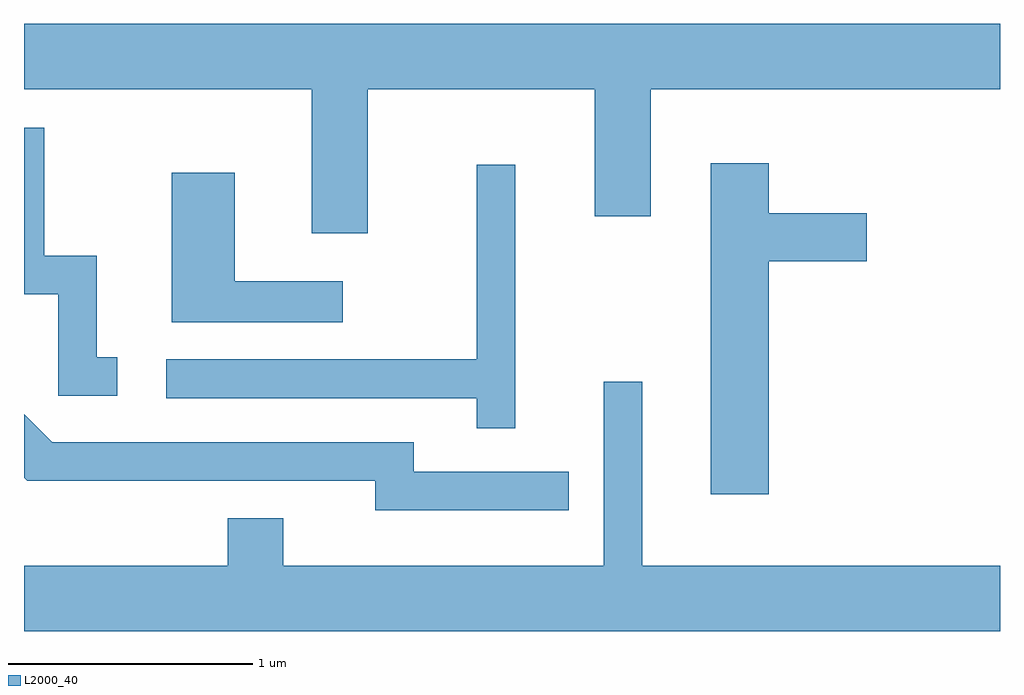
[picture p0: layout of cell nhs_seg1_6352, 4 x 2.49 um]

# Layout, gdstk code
import gdstk
lib = gdstk.Library(unit=1e-6, precision=1e-09)
def P(c, l, *ps):  # polygons
    for p in ps: c.add(gdstk.Polygon(p, *l))
L2000_40 = (2000, 40)

nhs_seg1_6352 = lib.new_cell('nhs_seg1_6352')
P(nhs_seg1_6352, L2000_40, [(377.019,975.056),(377.951,975.056),(377.951,974.536),(378.179,974.536),(378.179,975.056),(379.611,975.056),(379.611,975.324),(375.611,975.324),(375.611,975.056),(376.791,975.056),(376.791,974.466),(377.019,974.466)],
  [(375.993,973.959),(375.909,973.959),(375.909,974.374),(375.694,974.374),(375.694,974.899),(375.611,974.899),(375.611,974.216),(375.751,974.216),(375.751,973.801),(375.993,973.801)],
  [(378.664,974.351),(379.064,974.351),(379.064,974.549),(378.664,974.549),(378.664,974.754),(378.426,974.754),(378.426,973.396),(378.664,973.396)],
  [(377.624,974.748),(377.466,974.748),(377.466,973.949),(376.193,973.949),(376.193,973.791),(377.466,973.791),(377.466,973.668),(377.624,973.668)],
  [(376.918,974.269),(376.474,974.269),(376.474,974.714),(376.216,974.714),(376.216,974.101),(376.918,974.101)],
  [(379.611,973.104),(378.144,973.104),(378.144,973.858),(377.986,973.858),(377.986,973.104),(376.674,973.104),(376.674,973.299),(376.446,973.299),(376.446,973.104),(375.611,973.104),(375.611,972.836),(379.611,972.836)],
  [(377.843,973.489),(377.209,973.489),(377.209,973.609),(375.727,973.609),(375.611,973.725),(375.611,973.464),(375.624,973.451),(377.051,973.451),(377.051,973.331),(377.843,973.331)])

lib.write_gds('nhs_seg1_6352.gds')
